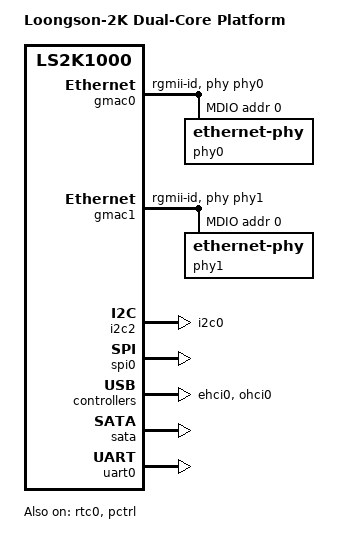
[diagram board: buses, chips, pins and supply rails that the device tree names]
// SPDX-License-Identifier: GPL-2.0

/dts-v1/;

#include "loongson-2k1000.dtsi"

/ {
	compatible = "loongson,loongspn64r-2core-ls2k1000", "loongson,ls2k1000";
	model = "Loongson-2K Dual-Core Platform";

	aliases {
		serial0 = &uart0;
	};

	chosen {
		stdout-path = "serial0:115200n8";
	};
};

&gmac0 {
	status = "okay";

	phy-mode = "rgmii-id";
	phy-handle = <&phy0>;
	mdio {
		compatible = "snps,dwmac-mdio";
		#address-cells = <1>;
		#size-cells = <0>;
		phy0: ethernet-phy@0 {
			reg = <0>;
		};
	};
};

&gmac1 {
	status = "okay";

	phy-mode = "rgmii-id";
	phy-handle = <&phy1>;
	mdio {
		compatible = "snps,dwmac-mdio";
		#address-cells = <1>;
		#size-cells = <0>;
		phy1: ethernet-phy@1 {
			reg = <0>;
		};
	};
};

&i2c2 {
	status = "okay";

	pinctrl-0 = <&i2c0_pins_default>;
	pinctrl-names = "default";
};

&spi0 {
	status = "okay";
};

&ehci0 {
	status = "okay";
};

&ohci0 {
	status = "okay";
};

&sata {
	status = "okay";
};

&uart0 {
	status = "okay";
};

&rtc0 {
	status = "okay";
};

&pctrl {
	status = "okay";

	sdio_pins_default: sdio-pins {
		sdio-pinmux {
			groups = "sdio";
			function = "sdio";
		};
		sdio-det-pinmux {
			groups = "pwm2";
			function = "gpio";
		};
	};

	pwm1_pins_default: pwm1-pins {
		pinmux {
			groups = "pwm1";
			function = "pwm1";
		};
	};

	pwm0_pins_default: pwm0-pins {
		pinmux {
			groups = "pwm0";
			function = "pwm0";
		};
	};

	i2c1_pins_default: i2c1-pins {
		pinmux {
			groups = "i2c1";
			function = "i2c1";
		};
	};

	i2c0_pins_default: i2c0-pins {
		pinmux {
			groups = "i2c0";
			function = "i2c0";
		};
	};

	nand_pins_default: nand-pins {
		pinmux {
			groups = "nand";
			function = "nand";
		};
	};

	hda_pins_default: hda-pins {
		grp0-pinmux {
			groups = "hda";
			function = "hda";
		};
		grp1-pinmux {
			groups = "i2s";
			function = "gpio";
		};
	};
};
